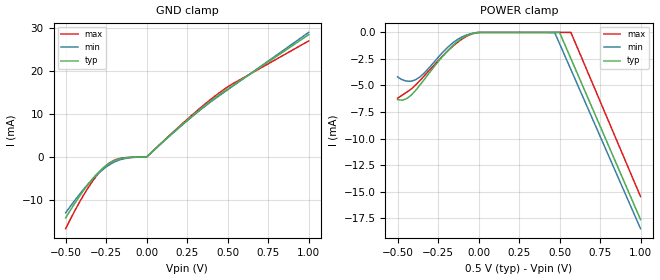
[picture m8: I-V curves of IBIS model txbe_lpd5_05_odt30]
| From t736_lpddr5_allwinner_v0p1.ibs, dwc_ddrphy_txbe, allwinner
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[Model] txbe_lpd5_05_odt30
Model_type   Input
Polarity   Non-Inverting
Enable   Active-High
C_comp   916.639fF   914.391fF   918.906fF
C_comp_pullup   275.490fF   270.981fF   279.350fF
C_comp_pulldown   469.355fF   466.096fF   480.886fF
Vinh = 310.000mV
Vinl = 190.000mV
[Model Spec]
D_overshoot_ampl_h 0.1 NA   NA
D_overshoot_ampl_l 0.1 NA   NA
D_overshoot_area_l 300.000m NA   NA
D_overshoot_area_h 300.000m NA   NA
[Receiver Thresholds]
Vth = 125.000mV
Vth_min = 118.000mV
Vth_max = 143.000mV
Vinh_ac = 60.000mV
Vinh_dc = 60.000mV
Vinl_ac = -60.000mV
Vinl_dc = -60.000mV
Tslew_ac = 5.000ns
Threshold_sensitivity = 0.5
Reference_supply Power_clamp_ref
[Temperature Range]   25.000   125.000   -40.000
[Voltage Range]   500.000mV   470.000mV   570.000mV
[GND Clamp Reference]   0.00V   0.00V   0.00V
[C Comp Corner]
| variable   typ   min   max
C_comp   916.639fF   914.391fF   918.906fF
C_comp_pullup   275.490fF   270.981fF   279.350fF
C_comp_pulldown   469.355fF   466.096fF   480.886fF
[POWER Clamp Reference]   500.000mV   470.000mV   570.000mV
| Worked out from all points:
|   GND clamp passes 1 mA (typ) near -0.21 V on its own axis
|   POWER clamp passes 1 mA (typ) near -0.14 V on its own axis
[GND Clamp]
-500mV    -14.12mA   -12.94mA   -16.62mA
-430mV    -9.971mA   -9.405mA   -11.52mA
-370mV    -6.776mA   -6.645mA   -7.65mA
-310mV    -4.051mA   -4.236mA   -4.406mA
-250mV    -1.976mA   -2.317mA   -1.983mA
-200mV    -857.6uA   -1.18mA    -760.5uA
-160mV    -376.6uA   -601.2uA   -292.4uA
-90mV     -78.03uA   -135.5uA   -58.57uA
0V        0A         0A         0A
280mV     9.475mA    9.329mA    9.714mA
480mV     15.25mA    15.05mA    15.73mA
1V        28.34mA    28.88mA    26.9mA
[Power Clamp]
-500mV    -6.32mA    -4.18mA    -6.2mA
-440mV    -6.198mA   -4.587mA   -5.588mA
-380mV    -5.306mA   -4.378mA   -4.826mA
-330mV    -4.336mA   -3.738mA   -4.006mA
-190mV    -1.718mA   -1.394mA   -1.748mA
-130mV    -856uA     -668uA     -936uA
-70mV     -284uA     -222uA     -344uA
0V        -11.01uA   -8.1uA     -11uA
470mV     -1.388uA   -11.33uA   -236.1nA
500mV     -1.488uA   -1.057mA   -253.7nA
570mV     -2.469mA   -3.496mA   -295.4nA
1V        -17.63mA   -18.48mA   -15.46mA
